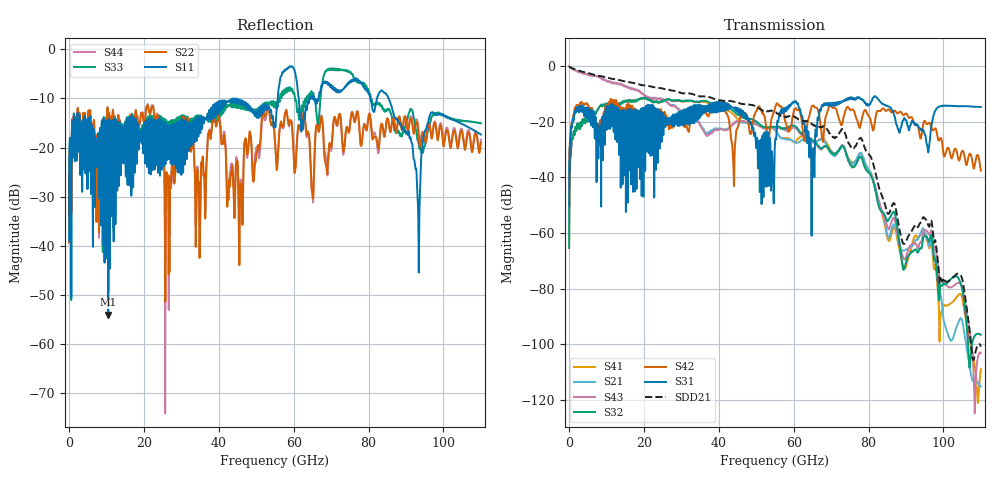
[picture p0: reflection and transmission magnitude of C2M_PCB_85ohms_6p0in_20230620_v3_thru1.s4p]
! Info: Touchstone file created by Circ.  Input file=C2M_PCB_85ohms_6p0in_20230620_v3.circ
# Hz S RI R 50
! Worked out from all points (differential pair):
!   11000 points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, 10 MHz to 110 GHz, reference 50 ohm
!   strongest paths, dB at 10 MHz, 27.51 GHz, 55.01 GHz, 82.51 GHz, 110 GHz:
!     S31: -50.4, -20.1, -27.5, -11.9, -14.7
!     S42: -50.2, -21.3, -14.9, -16.1, -37.6
!     S32: -65.3, -12.4, -21.9, -49.1, -96.5
!     S43: -0.1, -14.3, -22.2, -47.2, -103.1
!     S21: -0.1, -14.0, -22.9, -49.0, -115.0
!     S41: -65.3, -12.6, -23.0, -48.0, -108.9
!   taken as a pair (ports 3,1 in; 4,2 out), SDD21 dB: -0.1, -8.8, -16.5, -42.3, -100.8
!   lowest |S11| = -54.0 dB at 10.46 GHz (marker M1), VSWR 1.00, Z = 49.9 - j0.183 ohm
!   |S11| at or under -10 dB: start of sweep to 55.74 GHz; 61.34 GHz to 64.18 GHz (2.831 GHz wide, 4.51 % of centre); 85.3 GHz to end of sweep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
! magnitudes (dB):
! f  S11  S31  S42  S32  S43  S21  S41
! 10 MHz  -38.9  -50.4  -50.2  -65.3  -0.1  -0.1  -65.3
! 1.27 GHz  -13.2  -19.3  -17.4  -23.3  -1.4  -1.4  -23.3
! 10.46 GHz  -54.0  -22.2  -14.9  -13.9  -5.5  -5.5  -14.0
! 54.36 GHz  -13.6  -36.4  -17.9  -21.9  -22.3  -22.3  -22.4
! 77.93 GHz  -6.9  -11.8  -20.7  -32.5  -32.6  -31.1  -31.3
! 89.46 GHz  -16.7  -18.9  -17.6  -73.1  -69.4  -66.3  -72.5
! 110 GHz  -17.4  -14.7  -37.6  -96.5  -103.1  -115.0  -108.9
